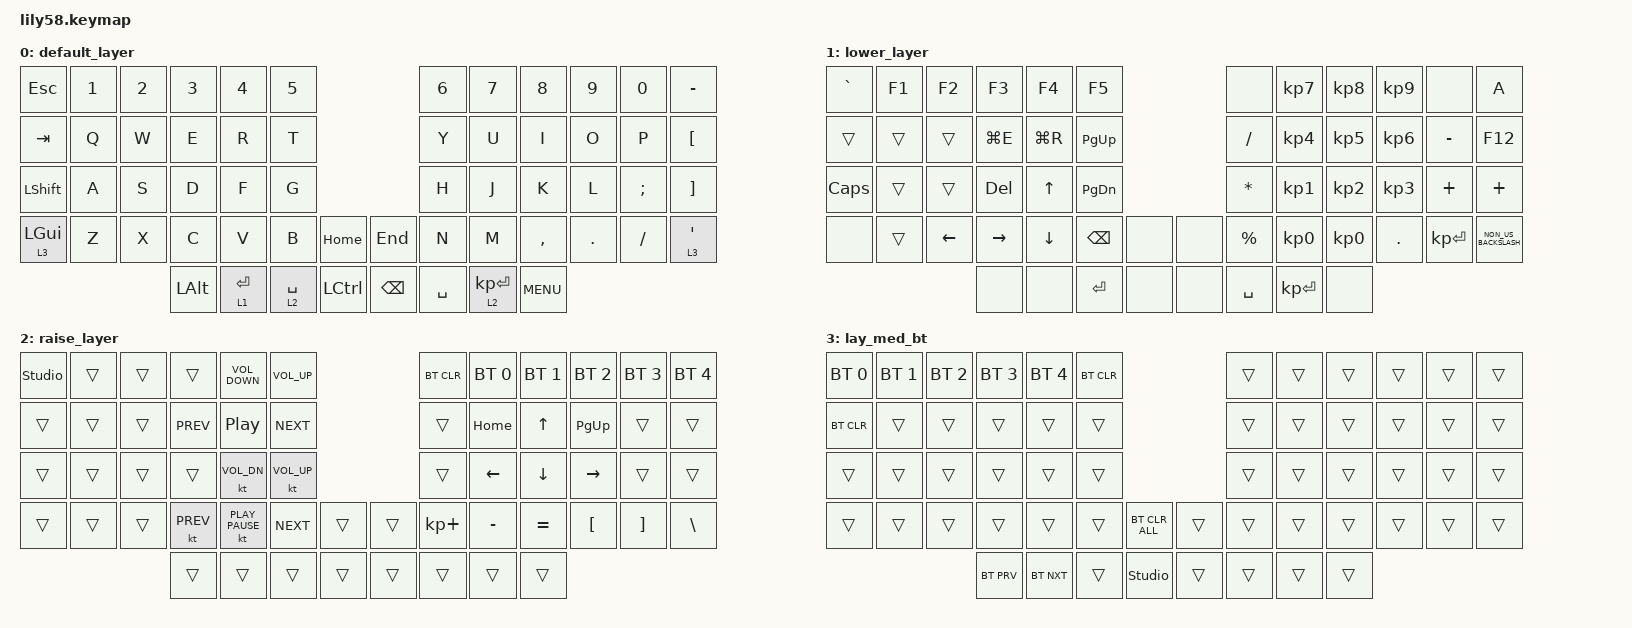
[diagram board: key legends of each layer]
/*
 * Copyright (c) 2020 The ZMK Contributors
 *
 * SPDX-License-Identifier: MIT
 */

#include <behaviors.dtsi>
#include <dt-bindings/zmk/bt.h>
#include <dt-bindings/zmk/keys.h>

/ {
    keymap {
        compatible = "zmk,keymap";

        default_layer {
            bindings = <
&kp ESC         &kp N1  &kp N2  &kp N3    &kp N4       &kp N5                                   &kp N6     &kp N7          &kp N8      &kp N9   &kp N0    &kp MINUS
&kp TAB         &kp Q   &kp W   &kp E     &kp R        &kp T                                    &kp Y      &kp U           &kp I       &kp O    &kp P     &kp LEFT_BRACKET
&kp LEFT_SHIFT  &kp A   &kp S   &kp D     &kp F        &kp G                                    &kp H      &kp J           &kp K       &kp L    &kp SEMI  &kp RIGHT_BRACKET
&lt 3 LEFT_GUI  &kp Z   &kp X   &kp C     &kp V        &kp B        &kp HOME     &kp END        &kp N      &kp M           &kp COMMA   &kp DOT  &kp FSLH  &lt 3 SQT
                                &kp LALT  &lt 1 ENTER  &lt 2 SPACE  &kp LCTRL    &kp BACKSPACE  &kp SPACE  &lt 2 KP_ENTER  &kp K_MENU
            >;
        };

        lower_layer {
            bindings = <
&kp GRAVE  &kp F1  &kp F2    &kp F3      &kp F4        &kp F5                         &none        &kp KP_NUMBER_7  &kp KP_NUMBER_8  &kp KP_NUMBER_9  &none         &kp A
&trans     &trans  &trans    &kp LG(E)   &kp LG(R)     &kp PAGE_UP                    &kp SLASH    &kp KP_N4        &kp KP_N5        &kp KP_N6        &kp MINUS     &kp F12
&kp CAPS   &trans  &trans    &kp DELETE  &kp UP_ARROW  &kp PAGE_DOWN                  &kp STAR     &kp KP_N1        &kp KP_N2        &kp KP_N3        &kp PLUS      &kp PLUS
&none      &trans  &kp LEFT  &kp RIGHT   &kp DOWN      &kp BACKSPACE  &none    &none  &kp PERCENT  &kp KP_N0        &kp KP_N0        &kp DOT          &kp KP_ENTER  &kp NON_US_BACKSLASH
                             &none       &none         &kp ENTER      &none    &none  &kp SPACE    &kp KP_ENTER     &none
            >;
        };

        raise_layer {
            bindings = <
&studio_unlock  &trans  &trans  &trans      &kp C_VOLUME_DOWN  &kp C_VOLUME_UP                    &bt BT_CLR   &bt BT_SEL 0  &bt BT_SEL 1  &bt BT_SEL 2  &bt BT_SEL 3  &bt BT_SEL 4
&trans          &trans  &trans  &kp C_PREV  &kp C_PLAY_PAUSE   &kp C_NEXT                         &trans       &kp HOME      &kp UP        &kp PAGE_UP   &trans        &trans
&trans          &trans  &trans  &trans      &kt K_VOL_DN       &kt K_VOLUME_UP                    &trans       &kp LEFT      &kp DOWN      &kp RIGHT     &trans        &trans
&trans          &trans  &trans  &kt K_PREV  &kt K_PLAY_PAUSE   &kp K_NEXT       &trans    &trans  &kp KP_PLUS  &kp MINUS     &kp EQUAL     &kp LBKT      &kp RBKT      &kp BSLH
                                &trans      &trans             &trans           &trans    &trans  &trans       &trans        &trans
            >;
        };

        lay_med_bt {
            bindings = <
&bt BT_SEL 0  &bt BT_SEL 1  &bt BT_SEL 2  &bt BT_SEL 3  &bt BT_SEL 4  &bt BT_CLR                            &trans  &trans  &trans  &trans  &trans  &trans
&bt BT_CLR    &trans        &trans        &trans        &trans        &trans                                &trans  &trans  &trans  &trans  &trans  &trans
&trans        &trans        &trans        &trans        &trans        &trans                                &trans  &trans  &trans  &trans  &trans  &trans
&trans        &trans        &trans        &trans        &trans        &trans      &bt BT_CLR_ALL    &trans  &trans  &trans  &trans  &trans  &trans  &trans
                                          &bt BT_PRV    &bt BT_NXT    &trans      &studio_unlock    &trans  &trans  &trans  &trans
            >;
        };
    };
};
